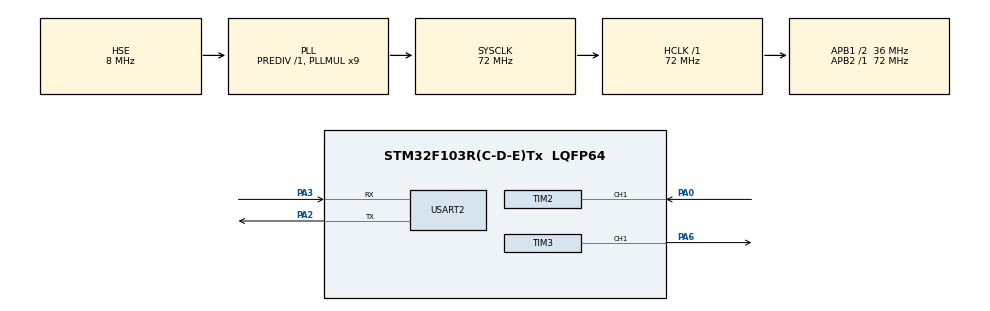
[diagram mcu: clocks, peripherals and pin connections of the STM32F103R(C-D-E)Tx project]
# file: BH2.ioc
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Mcu.Family=STM32F1
Mcu.Name=STM32F103R(C-D-E)Tx
Mcu.Package=LQFP64
NVIC.PriorityGroup=NVIC_PRIORITYGROUP_4
PA0-WKUP.Signal=S_TIM2_CH1_ETR
PA13.Mode=Serial_Wire
PA13.Signal=SYS_JTMS-SWDIO
PA14.Mode=Serial_Wire
PA14.Signal=SYS_JTCK-SWCLK
PA2.Mode=Asynchronous
PA2.Signal=USART2_TX
PA3.Mode=Asynchronous
PA3.Signal=USART2_RX
PA6.Signal=S_TIM3_CH1
PC14-OSC32_IN.Mode=LSE-External-Oscillator
PC14-OSC32_IN.Signal=RCC_OSC32_IN
PC15-OSC32_OUT.Mode=LSE-External-Oscillator
PC15-OSC32_OUT.Signal=RCC_OSC32_OUT
PD0-OSC_IN.Mode=HSE-External-Oscillator
PD0-OSC_IN.Signal=RCC_OSC_IN
PD1-OSC_OUT.Mode=HSE-External-Oscillator
PD1-OSC_OUT.Signal=RCC_OSC_OUT
ProjectManager.HeapSize=0x200
ProjectManager.StackSize=0x400
ProjectManager.TargetToolchain=MDK-ARM V5
RCC.AHBFreq_Value=72000000
RCC.APB1CLKDivider=RCC_HCLK_DIV2
RCC.APB1Freq_Value=36000000
RCC.APB1TimFreq_Value=72000000
RCC.APB2Freq_Value=72000000
RCC.APB2TimFreq_Value=72000000
RCC.HCLKFreq_Value=72000000
RCC.PLLMUL=RCC_PLL_MUL9
RCC.PLLSourceVirtual=RCC_PLLSOURCE_HSE
RCC.SYSCLKFreq_VALUE=72000000
RCC.SYSCLKSource=RCC_SYSCLKSOURCE_PLLCLK
RCC.USBFreq_Value=72000000
SH.S_TIM2_CH1_ETR.0=TIM2_CH1,Input_Capture1_from_TI1
SH.S_TIM3_CH1.0=TIM3_CH1,PWM Generation1 CH1
TIM2.Channel-Input_Capture1_from_TI1=TIM_CHANNEL_1
TIM3.Channel-PWM\ Generation1\ CH1=TIM_CHANNEL_1
TIM3.Period=10-1
TIM3.Prescaler=72-1
TIM3.Pulse-PWM\ Generation1\ CH1=5
USART2.VirtualMode=VM_ASYNC
VP_TIM2_VS_ClockSourceINT.Mode=Internal
VP_TIM3_VS_ClockSourceINT.Mode=Internal
board=custom

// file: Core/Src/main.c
/* USER CODE BEGIN Header */
/**
  ******************************************************************************
  * @file           : main.c
  * @brief          : Main program body
  ******************************************************************************
  * @attention
  *
  * <h2><center>&copy; Copyright (c) 2021 STMicroelectronics.
  * All rights reserved.</center></h2>
  *
  * This software component is licensed by ST under BSD 3-Clause license,
  * the "License"; You may not use this file except in compliance with the
  * License. You may obtain a copy of the License at:
  *                        opensource.org/licenses/BSD-3-Clause
  *
  ******************************************************************************
  */
/* USER CODE END Header */
#include "main.h"
#include "tim.h"
#include "usart.h"
#include "gpio.h"

/* USER CODE BEGIN Includes */
#include "stdio.h"
/* USER CODE END Includes */

/* USER CODE BEGIN PV */
	uint32_t Diff = 0;
	uint8_t MeasureFlag = 0;
	uint8_t CapIndex  = 0;
	uint32_t CapVal1 = 0;
	uint32_t CapVal2 = 0;
/* USER CODE END PV */

void SystemClock_Config(void);

int main(void)
{

  /* MCU Configuration--------------------------------------------------------*/

  /* Reset of all peripherals, Initializes the Flash interface and the Systick. */
  HAL_Init();

  /* Configure the system clock */
  SystemClock_Config();

  /* Initialize all configured peripherals */
  MX_GPIO_Init();
  MX_TIM2_Init();
  MX_TIM3_Init();
  MX_USART2_UART_Init();
  /* USER CODE BEGIN 2 */
	printf("Timer Capture Function Test:\n");
	HAL_TIM_IC_Start_IT(&htim2,TIM_CHANNEL_1);
	HAL_TIM_PWM_Start(&htim3,TIM_CHANNEL_1);
  /* USER CODE END 2 */

  /* Infinite loop */
  while (1)
  {

    /* USER CODE BEGIN 3 */
		if(MeasureFlag==1)
		{
			if(CapVal2>=CapVal1)
			{
				Diff = CapVal2-CapVal1;
			}
			else
			{
				Diff = ((0xFFFFFFFF + 1 - CapVal1) + CapVal2);
			}
			printf("Period is:%.4fms\r\n",Diff/100000.0);
			printf("Frequency is:%dHZ\r\n",100000000/Diff);
			printf("/*******************************/\r\n");
			MeasureFlag = 0;
			HAL_Delay(1000);
			HAL_TIM_IC_Start_IT(&htim2,TIM_CHANNEL_1);
		}
  }
  /* USER CODE END 3 */
}

void SystemClock_Config(void)
{
  RCC_OscInitTypeDef RCC_OscInitStruct = {0};
  RCC_ClkInitTypeDef RCC_ClkInitStruct = {0};

  /** Initializes the RCC Oscillators according to the specified parameters
  * in the RCC_OscInitTypeDef structure.
  */
  RCC_OscInitStruct.OscillatorType = RCC_OSCILLATORTYPE_HSE;
  RCC_OscInitStruct.HSEState = RCC_HSE_ON;
  RCC_OscInitStruct.HSEPredivValue = RCC_HSE_PREDIV_DIV1;
  RCC_OscInitStruct.HSIState = RCC_HSI_ON;
  RCC_OscInitStruct.PLL.PLLState = RCC_PLL_ON;
  RCC_OscInitStruct.PLL.PLLSource = RCC_PLLSOURCE_HSE;
  RCC_OscInitStruct.PLL.PLLMUL = RCC_PLL_MUL9;
  if (HAL_RCC_OscConfig(&RCC_OscInitStruct) != HAL_OK)
  {
    Error_Handler();
  }
  /** Initializes the CPU, AHB and APB buses clocks
  */
  RCC_ClkInitStruct.ClockType = RCC_CLOCKTYPE_HCLK|RCC_CLOCKTYPE_SYSCLK
                              |RCC_CLOCKTYPE_PCLK1|RCC_CLOCKTYPE_PCLK2;
  RCC_ClkInitStruct.SYSCLKSource = RCC_SYSCLKSOURCE_PLLCLK;
  RCC_ClkInitStruct.AHBCLKDivider = RCC_SYSCLK_DIV1;
  RCC_ClkInitStruct.APB1CLKDivider = RCC_HCLK_DIV2;
  RCC_ClkInitStruct.APB2CLKDivider = RCC_HCLK_DIV1;

  if (HAL_RCC_ClockConfig(&RCC_ClkInitStruct, FLASH_LATENCY_2) != HAL_OK)
  {
    Error_Handler();
  }
}

/* USER CODE BEGIN 4 */
int fputc(int ch, FILE *f)
{
	HAL_UART_Transmit(&huart2,(uint8_t *)&ch,1,HAL_MAX_DELAY);
	return ch;
}
void HAL_TIM_IC_CaptureCallback(TIM_HandleTypeDef *htim)
{
	if(htim->Instance == TIM2)
	{
		if(htim->Channel == HAL_TIM_ACTIVE_CHANNEL_1)
		{
			if(CapIndex == 0)
			{
				CapVal1 = HAL_TIM_ReadCapturedValue(htim,TIM_CHANNEL_1);
				CapIndex = 1;
			}
			else if(CapIndex == 1)
			{
				CapVal2 = HAL_TIM_ReadCapturedValue(htim,TIM_CHANNEL_1);
				HAL_TIM_IC_Stop_IT(htim,TIM_CHANNEL_1);
				CapIndex = 0;
				MeasureFlag = 1;
			}
			else
			{
				Error_Handler();
			}
		}
	}
}
/* USER CODE END 4 */

void Error_Handler(void)
{
  __disable_irq();
  while (1)
  {
  }
}

/************************ (C) COPYRIGHT STMicroelectronics *****END OF FILE****/
